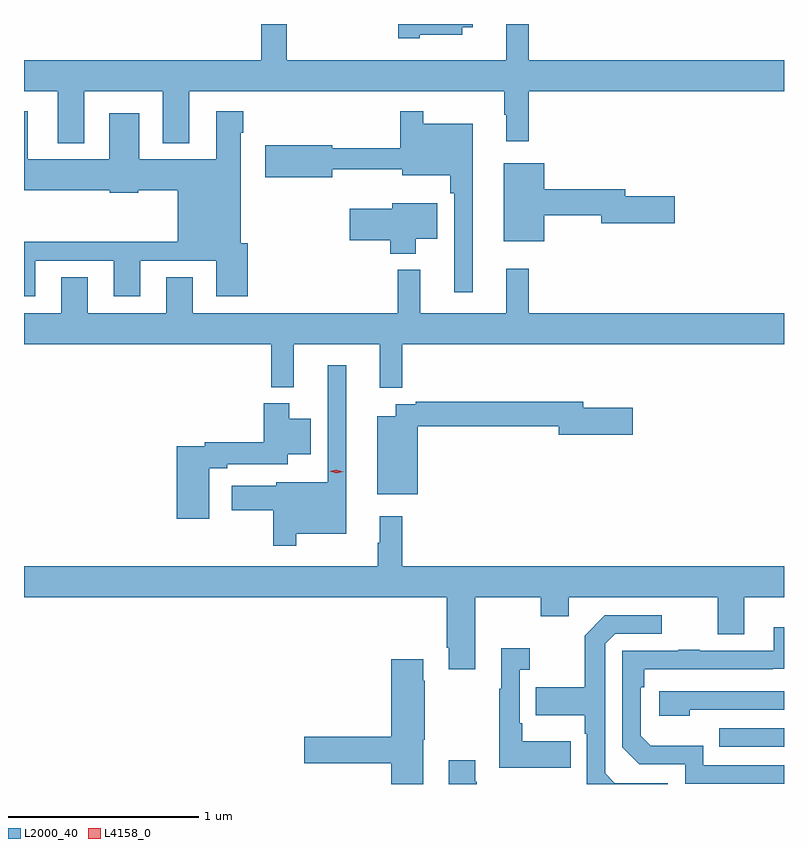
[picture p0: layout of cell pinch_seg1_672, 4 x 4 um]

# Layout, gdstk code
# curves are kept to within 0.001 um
import gdstk
lib = gdstk.Library(unit=1e-6, precision=1e-09)
def R(c, l, rs):  # rectangles x0, y0, x1, y1
    for r in rs: c.add(gdstk.rectangle(r[:2], r[2:], *l))
def P(c, l, *ps):  # polygons
    for p in ps: c.add(gdstk.Polygon(p, *l))
L2000_40 = (2000, 40)
L4158_0 = (4158, 0)

pinch_seg1_672 = lib.new_cell('pinch_seg1_672')
R(pinch_seg1_672, L2000_40, [(643.933,569.595,644.273,569.691)])
P(pinch_seg1_672, L2000_40, [(640.591,573.044),(641.003,573.044),(641.003,572.771),(641.143,572.771),(641.143,573.044),(642.801,573.044),(642.801,572.921),(642.812,572.921),(642.812,572.781),(642.929,572.781),(642.929,573.044),(644.273,573.044),(644.273,573.208),(642.929,573.208),(642.929,573.398),(642.811,573.398),(642.811,573.208),(641.657,573.208),(641.657,573.398),(641.521,573.398),(641.521,573.208),(640.273,573.208),(640.273,573.044),(640.451,573.044),(640.451,572.771),(640.591,572.771)],
  [(642.357,573.341),(642.58,573.341),(642.58,573.38),(642.634,573.38),(642.634,573.398),(642.242,573.398),(642.242,573.323),(642.357,573.323)],
  [(640.333,572.151),(640.745,572.151),(640.745,571.965),(640.885,571.965),(640.885,572.151),(641.285,572.151),(641.285,571.965),(641.45,571.965),(641.45,572.244),(641.413,572.244),(641.413,572.825),(641.426,572.825),(641.426,572.938),(641.285,572.938),(641.285,572.686),(640.879,572.686),(640.879,572.929),(640.721,572.929),(640.721,572.686),(640.294,572.686),(640.294,572.938),(640.273,572.938),(640.273,572.522),(640.725,572.522),(640.725,572.51),(640.875,572.51),(640.875,572.522),(641.081,572.522),(641.081,572.252),(640.273,572.252),(640.273,571.965),(640.333,571.965)],
  [(642.634,572.872),(642.373,572.872),(642.373,572.938),(642.252,572.938),(642.252,572.743),(641.896,572.743),(641.896,572.761),(641.544,572.761),(641.544,572.591),(641.896,572.591),(641.896,572.633),(642.263,572.633),(642.263,572.603),(642.517,572.603),(642.517,572.507),(642.537,572.507),(642.537,571.986),(642.634,571.986)],
  [(643.012,572.392),(643.31,572.392),(643.31,572.35),(643.699,572.35),(643.699,572.492),(643.438,572.492),(643.438,572.528),(643.012,572.528),(643.012,572.665),(642.797,572.665),(642.797,572.255),(643.012,572.255)],
  [(642.334,572.267),(642.448,572.267),(642.448,572.455),(642.212,572.455),(642.212,572.425),(641.988,572.425),(641.988,572.26),(642.2,572.26),(642.2,572.189),(642.334,572.189)],
  [(642.263,571.712),(644.273,571.712),(644.273,571.876),(642.929,571.876),(642.929,572.11),(642.812,572.11),(642.812,571.876),(642.359,571.876),(642.359,572.104),(642.241,572.104),(642.241,571.876),(641.161,571.876),(641.161,572.066),(641.021,572.066),(641.021,571.876),(640.609,571.876),(640.609,572.066),(640.469,572.066),(640.469,571.876),(640.273,571.876),(640.273,571.712),(641.575,571.712),(641.575,571.487),(641.693,571.487),(641.693,571.712),(642.146,571.712),(642.146,571.483),(642.263,571.483)],
  [(641.707,570.716),(641.968,570.716),(641.968,571.603),(641.871,571.603),(641.871,570.985),(641.601,570.985),(641.601,570.967),(641.367,570.967),(641.367,570.838),(641.586,570.838),(641.586,570.651),(641.707,570.651)],
  [(642.346,571.282),(643.088,571.282),(643.088,571.235),(643.477,571.235),(643.477,571.377),(643.216,571.377),(643.216,571.411),(642.334,571.411),(642.334,571.398),(642.23,571.398),(642.23,571.333),(642.131,571.333),(642.131,570.923),(642.346,570.923)],
  [(641.248,571.06),(641.344,571.06),(641.344,571.08),(641.662,571.08),(641.662,571.133),(641.782,571.133),(641.782,571.321),(641.668,571.321),(641.668,571.402),(641.534,571.402),(641.534,571.196),(641.224,571.196),(641.224,571.176),(641.078,571.176),(641.078,570.795),(641.248,570.795)],
  [(642.649,570.38),(642.994,570.38),(642.994,570.281),(643.141,570.281),(643.141,570.38),(643.925,570.38),(643.925,570.186),(644.065,570.186),(644.065,570.38),(644.273,570.38),(644.273,570.544),(642.263,570.544),(642.263,570.808),(642.146,570.808),(642.146,570.668),(642.135,570.668),(642.135,570.544),(640.273,570.544),(640.273,570.38),(642.497,570.38),(642.497,570.115),(642.509,570.115),(642.509,570.003),(642.649,570.003)],
  [(643.66,569.403),(643.383,569.403),(643.332,569.454),(643.332,570.135),(643.386,570.189),(643.63,570.189),(643.63,570.285),(643.329,570.285),(643.224,570.179),(643.224,569.907),(642.967,569.907),(642.967,569.759),(643.224,569.759),(643.224,569.663),(643.236,569.663),(643.236,569.398),(643.66,569.398)],
  [(644.273,569.496),(643.848,569.496),(643.848,569.599),(643.571,569.599),(643.518,569.652),(643.518,569.906),(643.538,569.906),(643.538,570.003),(644.273,570.004),(644.273,570.223),(644.219,570.223),(644.219,570.099),(643.829,570.099),(643.829,570.104),(643.717,570.104),(643.717,570.099),(643.422,570.099),(643.422,569.592),(643.512,569.502),(643.752,569.502),(643.752,569.4),(644.273,569.4)],
  [(643.151,569.623),(642.895,569.623),(642.895,569.719),(642.882,569.719),(642.882,569.999),(642.934,569.999),(642.934,570.112),(642.785,570.112),(642.785,569.899),(642.774,569.899),(642.774,569.483),(643.151,569.483)],
  [(642.373,569.631),(642.381,569.631),(642.381,569.942),(642.373,569.942),(642.373,570.055),(642.206,570.055),(642.206,569.648),(641.748,569.648),(641.748,569.506),(642.206,569.506),(642.206,569.398),(642.373,569.398)],
  [(643.778,569.79),(644.273,569.79),(644.273,569.886),(643.617,569.886),(643.617,569.756),(643.778,569.756)],
  [(642.657,569.411),(642.649,569.411),(642.649,569.524),(642.509,569.524),(642.509,569.398),(642.657,569.398)])
P(pinch_seg1_672, L4158_0, [(641.916,571.033),(641.881,571.045),(641.881,571.045),(641.881,571.045),(641.917,571.053),(641.952,571.041),(641.952,571.041),(641.952,571.041)])

lib.write_gds('pinch_seg1_672.gds')
